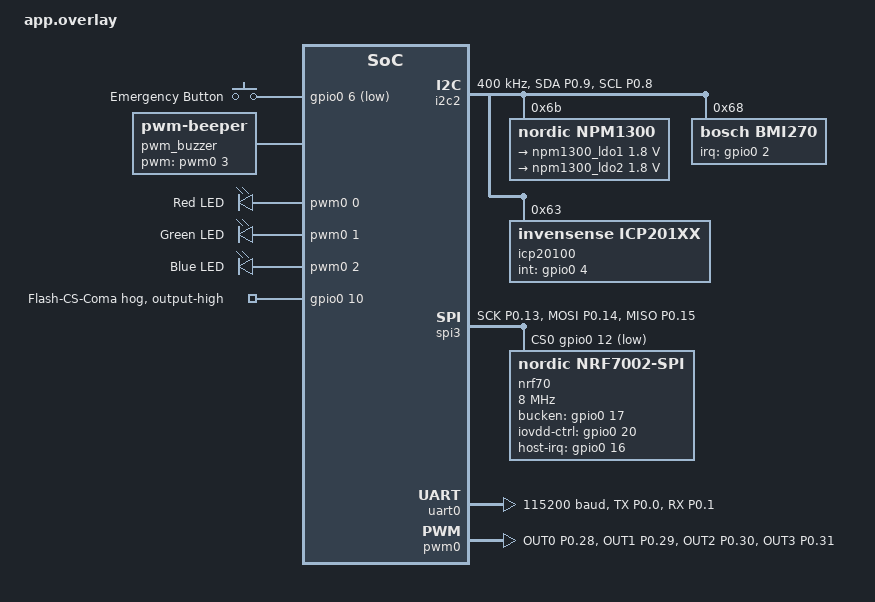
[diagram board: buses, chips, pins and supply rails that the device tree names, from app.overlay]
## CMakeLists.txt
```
# =====================================================================
# Bracelet final project -- CMakeLists.txt
# =====================================================================
cmake_minimum_required(VERSION 3.20.0)

find_package(Zephyr REQUIRED HINTS $ENV{ZEPHYR_BASE})
project(final_project)

# --- Edge Impulse SDK (adds DSP, TFLite Micro, Zephyr porting) -------
include(edge_impulse/edge-impulse-sdk/cmake/utils.cmake)
add_subdirectory(edge_impulse/edge-impulse-sdk/cmake/zephyr)

# --- Include paths ----------------------------------------------------
target_include_directories(app PRIVATE
    include
    bmi270_legacy_api
    edge_impulse
    edge_impulse/model-parameters
    edge_impulse/tflite-model
)

# --- Sources ----------------------------------------------------------
# Manually glob the model sources so the Zephyr app target can see them
RECURSIVE_FIND_FILE(MODEL_SOURCES edge_impulse/tflite-model "*.cpp")

FILE(GLOB APP_C_SOURCES src/*.c)
FILE(GLOB BMI_SOURCES bmi270_legacy_api/*.c)

target_sources(app PRIVATE
    ${APP_C_SOURCES}
    src/ml_wrapper.cpp
    ${MODEL_SOURCES}
    ${BMI_SOURCES}
)
```

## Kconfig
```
source "Kconfig.zephyr"

menu "Communication with MQTT broker"

config MQTT_BROKER_HOSTNAME
    string "MQTT broker Azure Server"
    default "20.251.201.46"
    help
      WARNING: Avoid static IPs for production. Use a domain name.

config MQTT_BOOTSTRAP_SECURITY_CODE
    string "Bootstrap security code"
    default "987654"
    help
      The security code sent in the first MQTT message after boot.
      The server uses this to register the bracelet in its database.
      The mobile app user must enter this exact code when pairing.

endmenu
```

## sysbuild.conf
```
# Enable the nRF7002 Wi-Fi companion chip in the multi-image build
SB_CONFIG_WIFI_NRF70=y
SB_CONFIG_WIFI_NRF70_SCAN_ONLY=y
```

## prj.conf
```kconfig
# ==========================================================
# SYSTEM, KERNEL & MEMORY
# ==========================================================
CONFIG_EVENTS=y
CONFIG_ZBUS=y
CONFIG_SMF=y
CONFIG_ZBUS_MSG_SUBSCRIBER=y

# --- ADJUSTED MEMORY LIMITS TO FIT IN RAM ---
CONFIG_MAIN_STACK_SIZE=4096
CONFIG_SYSTEM_WORKQUEUE_STACK_SIZE=4096
CONFIG_HEAP_MEM_POOL_SIZE=16000

# --- CATCH CRASHES IN HUMAN TEXT ---
CONFIG_HW_STACK_PROTECTION=y
CONFIG_INIT_STACKS=y
CONFIG_THREAD_STACK_INFO=y

# ==========================================================
# C++ & EDGE IMPULSE SDK (Replaces Picolibc)
# ==========================================================
CONFIG_CPP=y
CONFIG_STD_CPP17=y
CONFIG_REQUIRES_FULL_LIBCPP=y
CONFIG_NEWLIB_LIBC=y
CONFIG_NEWLIB_LIBC_FLOAT_PRINTF=y
CONFIG_CBPRINTF_FP_SUPPORT=y
CONFIG_FPU=y

# ==========================================================
# CONSOLE & LOGGING
# ==========================================================
CONFIG_SERIAL=y
CONFIG_CONSOLE=y
CONFIG_UART_CONSOLE=y
CONFIG_STDOUT_CONSOLE=y
CONFIG_PRINTK=y
CONFIG_LOG=y
CONFIG_STACK_SENTINEL=y             

# ==========================================================
# SENSORS: I2C (BMI270/ICP20100 now driven by raw I2C)
# ==========================================================
CONFIG_I2C=y

CONFIG_ASSERT=y
CONFIG_THREAD_NAME=y
CONFIG_RESET_ON_FATAL_ERROR=n

# ==========================================================
# UI: OLED + PWM LEDs + BUZZER
# ==========================================================
CONFIG_DISPLAY=n
#CONFIG_SSD1306=y
#CONFIG_CHARACTER_FRAMEBUFFER=y
CONFIG_PWM=y
CONFIG_LED=y
CONFIG_LED_PWM=y

# ==========================================================
# PMIC: nPM1300
# ==========================================================
CONFIG_SENSOR=y
CONFIG_MFD_NPM13XX=y
CONFIG_REGULATOR=y
CONFIG_REGULATOR_NPM13XX=y
CONFIG_CHARGER=y
CONFIG_NPM13XX_CHARGER=y

# ==========================================================
# WI-FI (SCAN ONLY)
# ==========================================================
CONFIG_SPI=y
CONFIG_WIFI=y
CONFIG_WIFI_NRF70=y
CONFIG_NETWORKING=y
CONFIG_NET_MGMT=y
CONFIG_NET_MGMT_EVENT=y
CONFIG_NET_MGMT_EVENT_INFO=y
CONFIG_NET_MGMT_EVENT_QUEUE_SIZE=16
CONFIG_NET_L2_WIFI_MGMT=y
CONFIG_NRF_WIFI_IF_AUTO_START=n

CONFIG_NET_L2_ETHERNET=y
CONFIG_NET_IPV4=y

CONFIG_NRF_WIFI_CTRL_HEAP_SIZE=10000
CONFIG_NRF_WIFI_DATA_HEAP_SIZE=12000


# Enable a random MAC address
CONFIG_WIFI_RANDOM_MAC_ADDRESS=y

# Enable a hardware entropy generator 
CONFIG_ENTROPY_GENERATOR=y

CONFIG_WIFI_LOG_LEVEL_INF=y
CONFIG_WIFI_NRF70_LOG_LEVEL_INF=y
CONFIG_NET_LOG=y

CONFIG_NRF70_RX_NUM_BUFS=4
CONFIG_NET_BUF_RX_COUNT=6
CONFIG_NET_BUF_TX_COUNT=6
CONFIG_NET_PKT_RX_COUNT=4
CONFIG_NET_PKT_TX_COUNT=4

CONFIG_NET_TX_STACK_SIZE=1024
CONFIG_NET_RX_STACK_SIZE=1024


# ==========================================================
# LTE MODEM (nRF9151 — socket offload for MQTT)
# ==========================================================
CONFIG_NRF_MODEM_LIB=y
CONFIG_LTE_LINK_CONTROL=y
CONFIG_LTE_NETWORK_MODE_LTE_M_GPS=y
CONFIG_MODEM_INFO=y
CONFIG_MODEM_INFO_ADD_NETWORK=y
CONFIG_NET_SOCKETS=y
CONFIG_NET_SOCKETS_OFFLOAD=y
CONFIG_POSIX_API=y
# RC oscillator — no external 32 kHz crystal on custom PCB
CONFIG_CLOCK_CONTROL_NRF_K32SRC_XTAL=n
CONFIG_CLOCK_CONTROL_NRF_K32SRC_RC=y
CONFIG_CLOCK_CONTROL_NRF_K32SRC_500PPM=y

CONFIG_NET_IPV6=n

# NRF CLOUD + AGNSS
CONFIG_NRF_CLOUD=y
CONFIG_NRF_CLOUD_AGNSS=y
CONFIG_NRF_CLOUD_MQTT=n

# ==========================================================
# MQTT
# ==========================================================
CONFIG_MQTT_HELPER=y
CONFIG_MQTT_HELPER_RX_TX_BUFFER_SIZE=2048
CONFIG_MQTT_HELPER_PAYLOAD_BUFFER_LEN=4096
CONFIG_MQTT_CLEAN_SESSION=y
CONFIG_MQTT_KEEPALIVE=1200

CONFIG_MQTT_BOOTSTRAP_SECURITY_CODE="987654"

CONFIG_MFD_NPM13XX_INIT_PRIORITY=74
CONFIG_REGULATOR_NPM13XX_COMMON_INIT_PRIORITY=75
CONFIG_REGULATOR_NPM13XX_INIT_PRIORITY=76
CONFIG_SENSOR_INIT_PRIORITY=80
CONFIG_WIFI_INIT_PRIORITY=85

CONFIG_BMI270=n
CONFIG_ICP201XX=n

# --- FIX NETWORK INTERFACE ALLOCATION CRASH ---
CONFIG_NET_IF_MAX_IPV4_COUNT=2
CONFIG_NET_IF_UNICAST_IPV4_ADDR_COUNT=2
CONFIG_NET_MAX_CONTEXTS=4

CONFIG_NET_TCP=n
CONFIG_NET_UDP=y
```

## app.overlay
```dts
#include <zephyr/dt-bindings/regulator/npm13xx.h>
#include <zephyr/dt-bindings/i2c/i2c.h>

&pinctrl {
    /* --- UART0 --- */
    uart0_default: uart0_default {
        group1 {
            psels = <NRF_PSEL(UART_TX, 0, 0)>,
                    <NRF_PSEL(UART_RX, 0, 1)>;
        };
    };
    uart0_sleep: uart0_sleep {
        group1 {
            psels = <NRF_PSEL(UART_TX, 0, 0)>,
                    <NRF_PSEL(UART_RX, 0, 1)>;
            low-power-enable;
        };
    };

    i2c2_default: i2c2_default {
        group1 {
            psels = <NRF_PSEL(TWIM_SDA, 0, 9)>,
                    <NRF_PSEL(TWIM_SCL, 0, 8)>;
        };
    };
    i2c2_sleep: i2c2_sleep {
        group1 {
            psels = <NRF_PSEL(TWIM_SDA, 0, 9)>,
                    <NRF_PSEL(TWIM_SCL, 0, 8)>;
            low-power-enable;
        };
    };

    /* --- SPI3 --- */
    spi3_default: spi3_default {
        group1 {
            psels = <NRF_PSEL(SPIM_SCK,  0, 13)>,
                    <NRF_PSEL(SPIM_MOSI, 0, 14)>,
                    <NRF_PSEL(SPIM_MISO, 0, 15)>;
            /* ADD THESE TWO LINES: */
            nordic,drive-mode = <NRF_DRIVE_H0H1>;
            bias-pull-up;
        };
    };
    spi3_sleep: spi3_sleep {
        group1 {
            psels = <NRF_PSEL(SPIM_SCK, 0, 13)>,
                    <NRF_PSEL(SPIM_MOSI, 0, 14)>,
                    <NRF_PSEL(SPIM_MISO, 0, 15)>;
            low-power-enable;
        };
    };

    /* --- PWM0 --- */
    pwm0_default: pwm0_default {
        group1 {
            /* RED=P0.28, GREEN=P0.29, BLUE=P0.30, BUZZER=P0.31 */
            psels = <NRF_PSEL(PWM_OUT0, 0, 28)>,
                    <NRF_PSEL(PWM_OUT1, 0, 29)>,
                    <NRF_PSEL(PWM_OUT2, 0, 30)>,
                    <NRF_PSEL(PWM_OUT3, 0, 31)>;
        };
    };
    pwm0_sleep: pwm0_sleep {
        group1 {
            psels = <NRF_PSEL(PWM_OUT0, 0, 28)>,
                    <NRF_PSEL(PWM_OUT1, 0, 29)>,
                    <NRF_PSEL(PWM_OUT2, 0, 30)>,
                    <NRF_PSEL(PWM_OUT3, 0, 31)>;
            low-power-enable;
        };
    };
};

/* Lock Flash CS high so it never contends on the SPI bus */
&gpio0 {
    flash_coma {
        gpio-hog;
        gpios = <10 GPIO_ACTIVE_HIGH>;
        output-high;
        line-name = "Flash-CS-Coma";
    };
};

&i2c2 {
    status = "okay";
    pinctrl-0 = <&i2c2_default>;
    pinctrl-1 = <&i2c2_sleep>;
    pinctrl-names = "default", "sleep";
    clock-frequency = <I2C_BITRATE_FAST>;

    /* Allocate RAM buffer for the BMI270 8KB config bursts */
    zephyr,concat-buf-size = <2048>;
    zephyr,flash-buf-max-size = <2048>;

    npm1300: pmic@6b {
        compatible = "nordic,npm1300";
        reg = <0x6b>;
        status = "okay"; /* Enable the PMIC parent */

        npm1300_regulators: regulators {
            compatible = "nordic,npm1300-regulator";
            status = "okay"; /* Enable the regulator subsystem */
        };

        npm1300_charger: charger {
            compatible = "nordic,npm1300-charger";
            status = "okay";
            /* Increase USB input current limit to 500mA to prevent boot brownouts */
            vbus-limit-microamp = <1000000>;
            term-microvolt = <4200000>;
            current-microamp = <150000>;
            dischg-limit-microamp = <1000000>;
            thermistor-ohms = <10000>;
            thermistor-beta = <3435>;

            charging-enable;
        };

    };


    /* Bosch BMI270 IMU */
    bmi270: bmi270@68 {
        compatible = "bosch,bmi270";
        reg = <0x68>;
        irq-gpios = <&gpio0 2 (GPIO_ACTIVE_HIGH | GPIO_PULL_DOWN)>;
    };

    /* TDK Barometer */
    icp20100: icp20100@63 {
        compatible = "invensense,icp201xx";
        reg = <0x63>;
        int-gpios = <&gpio0 4 GPIO_ACTIVE_HIGH>;
    };

};

&npm1300_regulators {
    npm1300_ldo1: LDO1 {
        status = "okay";
        /* Fixed: Lowered to 1.8V to match nRF9151 GPIO logic levels */
        regulator-min-microvolt = <1800000>;
        regulator-max-microvolt = <1800000>;
        regulator-initial-mode = <NPM13XX_LDSW_MODE_LDSW>;
        active-discharge;
        //regulator-boot-on;
        //regulator-always-on;
    };

        npm1300_ldo2: LDO2 {
        /* Set the voltage to 1.8V */
        regulator-min-microvolt = <1800000>;
        regulator-max-microvolt = <1800000>;
        regulator-initial-mode = <NPM13XX_LDSW_MODE_LDSW>;
        active-discharge;
        regulator-boot-on;
        //regulator-always-on;
    };
};


&spi3 {
    status = "okay";
    pinctrl-0 = <&spi3_default>;
    pinctrl-1 = <&spi3_sleep>;
    pinctrl-names = "default", "sleep";

    cs-gpios = <&gpio0 12 GPIO_ACTIVE_LOW>;

	nrf70: nrf7002@0 {
        compatible = "nordic,nrf7002-spi";
        status = "okay";
        reg = <0>;
        spi-max-frequency = <DT_FREQ_M(8)>;
        iovdd-power-up-delay-ms = <100>;

        bucken-gpios    = <&gpio0 17 GPIO_ACTIVE_HIGH>;
        iovdd-ctrl-gpios = <&gpio0 20 GPIO_ACTIVE_HIGH>;
        // iovdd-regulator = <&npm1300_ldo1>;
        host-irq-gpios  = <&gpio0 16 GPIO_ACTIVE_HIGH>;

        nordic_wlan0: wlan0 {
            compatible = "nordic,wlan";
            local-mac-address = [F6 CE 36 00 00 01];
        };

        /* TX power properties - REDUCED FOR BATTERY */
        wifi-max-tx-pwr-2g-dsss = <10>;         // Was 21 → Now 10 dBm
        wifi-max-tx-pwr-2g-mcs0 = <8>;          // Was 16 → Now 8 dBm
        wifi-max-tx-pwr-2g-mcs7 = <8>;          // Was 16 → Now 8 dBm
        wifi-max-tx-pwr-5g-low-mcs0 = <6>;      // Was 9 → Now 6 dBm
        wifi-max-tx-pwr-5g-low-mcs7 = <6>;      // Was 9 → Now 6 dBm
        wifi-max-tx-pwr-5g-mid-mcs0 = <8>;      // Was 11 → Now 8 dBm
        wifi-max-tx-pwr-5g-mid-mcs7 = <8>;      // Was 11 → Now 8 dBm
        wifi-max-tx-pwr-5g-high-mcs0 = <10>;    // Was 13 → Now 10 dBm
        wifi-max-tx-pwr-5g-high-mcs7 = <10>;    // Was 13 → Now 10 dBm
    };
};

/ {
    aliases {
        sw0 = &button_em;
        buzzer = &pwm_buzzer;
        led0 = &led_red;
        led1 = &led_green;
        led2 = &led_blue;
    };

    buttons {
        compatible = "gpio-keys";
        button_em: button_0 {
            gpios = <&gpio0 6 (GPIO_PULL_UP | GPIO_ACTIVE_LOW)>;
            label = "Emergency Button";
        };
    };

    /* Buzzer PWM routing */
    pwm_buzzer: pwm_buzzer {
        compatible = "pwm-beeper";
        pwms = <&pwm0 3 PWM_HZ(4000) PWM_POLARITY_NORMAL>;
    };

    pwmleds {
        compatible = "pwm-leds";
        led_red: led_pwm_0 {
            pwms = <&pwm0 0 PWM_MSEC(20) PWM_POLARITY_NORMAL>;
            label = "Red LED";
        };
        led_green: led_pwm_1 {
            pwms = <&pwm0 1 PWM_MSEC(20) PWM_POLARITY_NORMAL>;
            label = "Green LED";
        };
        led_blue: led_pwm_2 {
            pwms = <&pwm0 2 PWM_MSEC(20) PWM_POLARITY_NORMAL>;
            label = "Blue LED";
        };
    };

	chosen {
		zephyr,wifi = &nordic_wlan0;
        ncs,location-wifi = &nordic_wlan0;
	};
};

/* Enable UART0 */
&uart0 {
    status = "okay";
    pinctrl-0 = <&uart0_default>;
    pinctrl-1 = <&uart0_sleep>;
    pinctrl-names = "default", "sleep";
    current-speed = <115200>;
};

/* Enable PWM0 */
&pwm0 {
    status = "okay";
    pinctrl-0 = <&pwm0_default>;
    pinctrl-1 = <&pwm0_sleep>;
    pinctrl-names = "default", "sleep";
};
```

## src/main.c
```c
/*
 
* PART OF MASTER'S THESIS: Design of an End-to-End IoT System for Monitoring Vulnerable Users 
 
 * main.c -- Application entry point. Initializes sensors and comms
 * subsystems, then starts the FSM thread that drives the rest of the
 * bracelet's runtime behavior. 
 * 
 * */
#include <zephyr/kernel.h>
#include <stdio.h>
#include <zephyr/init.h>

/* Include our module APIs */
#include "sensors.h"
#include "comms.h"

extern const k_tid_t fsm_tid;

/* ======================================================================
 * MAIN ENTRY POINT
 * ====================================================================== */
int main(void)
{

    printf("========================================\n");
    printf("      BRACELET TRACKER BOOTING...       \n");
    printf("========================================\n");

    sensors_startup_blink_start();

    /* 1. Initialize Hardware Sensors & Interrupts */
    if (sensors_init() != 0) {
        printf("[FATAL] Sensor initialization failed! Check PMIC/I2C.\n");
        return -1;
    }
    printf("MAIN: sensors_init OK\n");

    /* 2. Initialize Modem, LTE, and MQTT */
    if (comms_init() != 0) {
        printf("[FATAL] Communications initialization failed! Check SIM/Antenna.\n");
        return -1;
    }
    printf("MAIN: comms_init OK\n");
    
    printf("========================================\n");
    printf("        SYSTEM BOOT COMPLETE            \n");
    printf("   FSM is now listening for events.     \n");
    printf("========================================\n");

    /* Start the FSM */
    k_thread_start(fsm_tid);

    sensors_startup_blink_stop();

    /* Main thread goes to sleep to save power */
    k_sleep(K_FOREVER);
    
    return 0;
}
```

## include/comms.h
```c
#ifndef COMMS_H
#define COMMS_H

#include <stdint.h>
#include <stddef.h> 
#include <zephyr/sys/util.h>

#define WIFI_EVT_SUCCESS BIT(0)
#define WIFI_EVT_FAIL    BIT(1)
#define LOC_EVT_HOME     BIT(3)
#define LOC_EVT_AWAY     BIT(4)
#define LOC_EVT_VERDICT  (LOC_EVT_HOME | LOC_EVT_AWAY)

extern struct k_event app_events;

/* Trigger reasons mapped to your Python backend statuses */
enum alert_reason {
    REASON_BUTTON_PRESSED, /* Maps to "panic" */
    REASON_FALL_DETECTED   /* Maps to "fall" */
};

struct nrf_modem_gnss_pvt_data_frame;

// WIFI APS
struct ap_data_t { 
    char mac[18]; 
    int8_t rssi; 
};

/* Wi-Fi Subsystem Prototypes */
void comms_wifi_init(void);
int do_wifi_scan(void);
const struct ap_data_t* comms_wifi_get_aps(void); 

/* GNSS Subsystem Prototypes */
int comms_gnss_init(void);
int do_gnss_fix(void);
int do_gnss_fix_timeout(int timeout_s);
const struct nrf_modem_gnss_pvt_data_frame* comms_gnss_get_pvt(void);

/* A-GNSS*/
typedef void (*comms_raw_cb_t)(const uint8_t *data, size_t len);
void comms_set_raw_response_cb(comms_raw_cb_t cb);
int  comms_agnss_refresh_if_needed(void);
void comms_agnss_invalidate(void);


/* Network (LTE & MQTT) */
int comms_network_init(void);
int comms_mqtt_ensure_connected(void);
int comms_mqtt_publish(const char *payload);
void comms_mqtt_disconnect(void);


/* LTE Controls for Core */
void comms_lte_wake(void);
void comms_lte_sleep(void);
void comms_lte_gnss_mode(void);
void comms_lte_normal_mode(void);
void comms_safe_disconnect(void);

/* Core APIs (Used by fsm.c) */
int comms_init(void);
void comms_send_alert_status(enum alert_reason reason);
int comms_update_localization(void);
void comms_clear_alert(void);


#endif /* COMMS_H */
```

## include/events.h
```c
#ifndef EVENTS_H
#define EVENTS_H

#include <zephyr/zbus/zbus.h>

/* These are all the physical and network triggers defined in FSM scheme */
enum bracelet_event_type {
    EVENT_IMU_LIGHT_MOTION,         /* Like walking*/
    EVENT_IMU_HARSH_IMPACT,         /* A fall */
    EVENT_BUTTON_PRESSED,           // Emergency button pressed normally
    EVENT_BUTTON_LONG_PRESS,        // Emergency button pressed long (1.5s)
    EVENT_SERVER_REPLY_HOME,        /* INSIDE GEOFENCE */
    EVENT_SERVER_REPLY_AWAY,        /* OUTSIDE GEOFENCE */
    EVENT_SERVER_ACK_ALERT,         /* The server acknowledges the alert */
    EVENT_ML_FALL_DETECTED,         /* TinyML output */
    EVENT_ML_NO_FALL,               /* TinyML output */
    EVENT_TIMER_1MIN_EXPIRED,       // Active tracking idle timer
    EVENT_TIMER_10MIN_EXPIRED,      // Deep Sleep idle timer
    EVENT_STATE_TIMEOUT,            /* Per-state watchdog (LOCATION_PING / ALERT) */
    EVENT_LOC_SUCCESS,              
    EVENT_LOC_FAILURE,
    EVENT_ALERT_CANCEL_WINDOW_TIMEOUT,
};

/* The ZBUS message payload */
struct bracelet_event {
    enum bracelet_event_type type;
};

/* Declare the ZBUS channel so all files can see it */
ZBUS_CHAN_DECLARE(fsm_events_chan);

#endif /* EVENTS_H */
```

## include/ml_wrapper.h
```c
/* ml_wrapper.h -- C interface to the C++ Edge Impulse classifier. */
#ifndef ML_WRAPPER_H
#define ML_WRAPPER_H

#include <stddef.h>

#ifdef __cplusplus
extern "C" {
#endif

/* Total floats the deployed model expects (should be 1125). Use to
 * sanity-check buffers at boot. */
size_t ml_wrapper_input_size(void);

/* Run inference on an interleaved feature window:
 *   [x0,y0,z0,dp0,press_step0 x1,y1,z1,dp1,press_step1 ...]
 * Returns:
 *    1  -> classified as fall
 *    0  -> classified as anything else
 *   <0  -> error (wrong feature count / EI runtime error)
 * Per-class probabilities are printed to the console. */
int run_fall_inference(const float *features, size_t count);

#ifdef __cplusplus
}
#endif

#endif /* ML_WRAPPER_H */
```

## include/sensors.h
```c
/* sensors.h -- sensor subsystem public API.
 *
 * The BMI270 is now driven through the Bosch
 * legacy API (raw I2C), NOT the Zephyr sensor driver. This is required
 * because the model needs the low-g feature (harsh-impact trigger) and
 * the hardware FIFO (the 1.5 s of PRE-impact data the model was
 * trained on) -- neither exists in the Zephyr bosch,bmi270 driver.
 * sensors_collect_ml_window() is replaced by
 * sensors_capture_fall_window(), which reproduces the training-data
 * pipeline exactly.
 */

#ifndef SENSORS_H
#define SENSORS_H

#include <stdint.h>
#include <stddef.h>

/* LED color bitmasks (PWM-driven) */
#define LED_RED   BIT(0)
#define LED_GREEN BIT(1)
#define LED_BLUE  BIT(2)

#define LED_YELLOW (LED_RED | LED_GREEN)
#define LED_CYAN   (LED_GREEN | LED_BLUE)

int  sensors_init(void);

/* Light-motion (any-motion) trigger control -- used by the FSM wake 
 * up during DEEP_SLEEP. The low-g harsh-impact trigger is
 * NOT affected by these: fall detection stays armed at all times. */
void sensors_enable_motion_trigger(void);
void sensors_disable_motion_trigger(void);

/* Capture one 4.5-second fall window (1.5 s pre-impact from the FIFO +
 * 3 s post-impact) and write it as interleaved model features:
 *   [x0,y0,z0,dp0,press_step0 x1,y1,z1,dp1,press_step1 ...]
 * accel in g, dp = pressure delta in hPa from the first sample.
 * press_step is the median of pressure
 * 'count' must be 1125 (225 frames x 5 axes).
 * Returns 0 on success, negative on short capture.
 * Rearms the low-g trigger before returning. */
int  sensors_capture_fall_window(float *features, size_t count);

/* LED & buzzer */
/* Turns on one or more LED colors (LED_RED/GREEN/BLUE). */
void sensors_led_on(uint8_t color);

/* Turns off one or more LED colors. */
void sensors_led_off(uint8_t color);

/* Turns the buzzer PWM output off or on at fixed duty cycle. */
void sensors_buzzer_on(void);
void sensors_buzzer_off(void);

/* Clears the capture-pending flag, re-enabling harsh-impact interrupt
 * handling. Must be called after a fall-window capture + ML inference
 * cycle completes, regardless of outcome. */
void sensors_evaluation_done(void);

/* Reads battery voltage from the nPM1300 charger/gauge and converts it
 * to an approximate percentage by preset values in a voltage lookup table. */
int get_battery_level(void);

/* Startup indicator: blinks BLUE/RED alternately until setup completes.
 * Call sensors_startup_blink_start() before init work begins, and
 * sensors_startup_blink_stop() once sensors_init()/comms_init() finish. */
void sensors_startup_blink_start(void);
void sensors_startup_blink_stop(void);

/* Loclaization indicator: blinks yellow for localization in progress.
 * Call sensors_localization_blink_start() when a localization attempt
 * begins, and sensors_localization_blink_stop() when it ends
 * (success, failure, or timeout). */
void sensors_localization_blink_start(void);
void sensors_localization_blink_stop(void);

/* One-shot notification blinks. Both block briefly (~600ms) and should
 * only be called from contexts where that's acceptable (state entry
 * functions, not ISRs). */
void sensors_notify_deep_sleep(void);      /* 2x green blinks */
void sensors_notify_active_tracking(void); /* 2x cyan blinks  */

#endif /* SENSORS_H */
```

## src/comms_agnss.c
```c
#include <zephyr/kernel.h>
#include <zephyr/logging/log.h>
#include <modem/modem_info.h>
#include <net/nrf_cloud_agnss.h>
#include <nrf_modem_gnss.h>
#include <stdlib.h>
#include <string.h>

#include "comms.h"

LOG_MODULE_REGISTER(comms_agnss, LOG_LEVEL_INF);

#define AGNSS_BUF_SIZE      8192
#define AGNSS_RESP_TIMEOUT  K_SECONDS(30)

/* Ephemerides are good for ~2-4 h. Refresh after 2 h to stay safe. */
#define AGNSS_VALID_MS      (2 * 60 * 60 * 1000LL)

static uint8_t agnss_buf[AGNSS_BUF_SIZE];
static size_t  agnss_len;
static K_SEM_DEFINE(agnss_sem, 0, 1);

static int64_t agnss_last_ok_ms;


static void agnss_cb(const uint8_t *data, size_t len)
{
    
    if (len == 0 || len > sizeof(agnss_buf)) {
        LOG_ERR("A-GNSS payload bad size: %zu B (buffer is %zu B)",
                len, sizeof(agnss_buf));
        return;   
    }

    memcpy(agnss_buf, data, len);
    agnss_len = len;
    k_sem_give(&agnss_sem);
}

/* ------------------------------------------------------------------
 * Build and publish the request, wait for the blob, inject it.
 * ------------------------------------------------------------------ */
static int fetch_and_inject_agnss(void)
{
    char plmn[16] = {0}, cell[16] = {0}, area[16] = {0}, req[160];
    int err;

    if (modem_info_string_get(MODEM_INFO_OPERATOR, plmn, sizeof(plmn)) <= 0) {
        LOG_ERR("No serving-cell PLMN -- cannot request A-GNSS");
        return -ENODATA;
    }
    modem_info_string_get(MODEM_INFO_CELLID,    cell, sizeof(cell));
    modem_info_string_get(MODEM_INFO_AREA_CODE, area, sizeof(area));

    int mnc = atoi(&plmn[3]);
    plmn[3] = '\0';
    int mcc = atoi(plmn);

    snprintk(req, sizeof(req),
             "{\"agnss_request\":1,\"mcc\":%d,\"mnc\":%d,\"tac\":%lu,\"eci\":%lu}",
             mcc, mnc, strtoul(area, NULL, 16), strtoul(cell, NULL, 16));

    k_sem_reset(&agnss_sem);
    agnss_len = 0;

    comms_set_raw_response_cb(agnss_cb);

    err = comms_mqtt_publish(req);
    if (err) {
        comms_set_raw_response_cb(NULL);
        LOG_ERR("A-GNSS request publish failed: %d", err);
        return err;
    }

    err = k_sem_take(&agnss_sem, AGNSS_RESP_TIMEOUT);
    comms_set_raw_response_cb(NULL);

    if (err) {
        LOG_ERR("No A-GNSS response within timeout");
        return -ETIMEDOUT;
    }

    err = nrf_cloud_agnss_process((const char *)agnss_buf, agnss_len);
    if (err) {
        LOG_ERR("nrf_cloud_agnss_process failed: %d", err);
        return err;
    }

    agnss_last_ok_ms = k_uptime_get();
    LOG_INF("A-GNSS injected OK.");
    return 0;
}

/* ------------------------------------------------------------------
 * Returns 0 if the modem now holds usable assistance (either freshly
 * injected or still valid from a previous fetch), negative otherwise.
 * ------------------------------------------------------------------ */
int comms_agnss_refresh_if_needed(void)
{
    int64_t now = k_uptime_get();

    if (agnss_last_ok_ms != 0 && (now - agnss_last_ok_ms) < AGNSS_VALID_MS) {
        return 0;
    }

    return fetch_and_inject_agnss();
}

/* Force a refetch on the next call */
void comms_agnss_invalidate(void)
{
    agnss_last_ok_ms = 0;
}
```

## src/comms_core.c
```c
/*
* PART OF MASTER'S THESIS: Design of an End-to-End IoT System for Monitoring Vulnerable Users 
 
 
 * comms_core.c -- Localization orchestration and alert/status reporting.
 * Runs the Wi-Fi -> GNSS -> LTE-cell fallback waterfall on its own thread,
 * builds and publishes MQTT JSON payloads, and reports LOC_SUCCESS/
 * LOC_FAILURE back to the FSM. Also owns comms_init() top-level bring-up. 
 */

#include <zephyr/kernel.h>
#include <zephyr/logging/log.h>
#include <zephyr/net/net_if.h>
#include <zephyr/zbus/zbus.h>
#include <modem/modem_info.h>
#include <nrf_modem_gnss.h>
#include <zephyr/drivers/regulator.h>
#include <stdio.h>
#include <stdlib.h>
#include <string.h>

#include "events.h"
#include "comms.h"
#include "sensors.h"

LOG_MODULE_REGISTER(comms_core, LOG_LEVEL_INF);

K_EVENT_DEFINE(app_events);

K_SEM_DEFINE(loc_start_sem, 0, 1);
static atomic_t loc_busy = ATOMIC_INIT(0);

static const char *current_status = "ok";

static const struct device *ldo1_dev = DEVICE_DT_GET(DT_NODELABEL(npm1300_ldo1));

/* ------------------------------------------------------------------
 * JSON PAYLOAD HELPERS
 * ------------------------------------------------------------------ */
static void send_status_payload(int batt) 
{
    char payload[128];
    snprintf(payload, sizeof(payload), "{\"status\":\"%s\", \"battery\":%d}", current_status, batt);
    LOG_INF("Publishing Status: %s", payload);
    comms_mqtt_publish(payload);
}

static void send_wifi_payload(int batt, int aps, const struct ap_data_t *best_aps)
{
    char payload[2048]; 
    int offset = 0;
    int remaining = sizeof(payload);
    
    offset += snprintf(payload + offset, remaining,
        "{\"status\":\"%s\", \"battery\":%d, \"wifi\":{\"accessPoints\":[", current_status, batt);
    remaining -= offset;

    for (int i = 0; i < aps; i++) {
        if (remaining < 64) {
            LOG_WRN("Payload buffer full! Truncating Wi-Fi list.");
            break; 
        }
        int written = snprintf(payload + offset, remaining,
            "{\"macAddress\":\"%s\",\"signalStrength\":%d}%s",
            best_aps[i].mac, best_aps[i].rssi, (i < aps - 1) ? "," : "");
        offset += written;
        remaining -= written;
    }

    snprintf(payload + offset, remaining, "]}}");
    LOG_INF("Publishing Wi-Fi Payload (%d bytes)", offset);
    comms_mqtt_publish(payload);
}

static void send_gnss_payload(int batt, const struct nrf_modem_gnss_pvt_data_frame *pvt)
{
    char payload[256];
    snprintf(payload, sizeof(payload),
        "{\"status\":\"%s\", \"battery\":%d, \"gnss\":{\"lat\":%.6f, \"lon\":%.6f, \"accuracy\":%.1f}}",
        current_status, batt, pvt->latitude, pvt->longitude, (double)pvt->accuracy);
    LOG_INF("Publishing GNSS Payload: %s", payload);
    comms_mqtt_publish(payload);
}

static void send_lte_payload(int batt)
{
    if (comms_mqtt_ensure_connected() != 0) {
        LOG_ERR("Attempted to connect to LTE failed");
        return;
    }
    char payload[256];
    struct modem_param_info modem_param = {0};
    modem_info_params_init(&modem_param);
    modem_info_params_get(&modem_param);

    char *cellid_str = modem_param.network.cellid_hex.value_string;
    uint32_t eci = (cellid_str && strlen(cellid_str) > 0) ? strtol(cellid_str, NULL, 16) : 0;
    uint16_t mcc = modem_param.network.mcc.value;
    uint16_t mnc = modem_param.network.mnc.value;
    uint32_t tac = modem_param.network.area_code.value;

    snprintf(payload, sizeof(payload),
        "{\"status\":\"%s\", \"battery\":%d, \"lte\":{\"mcc\":%d, \"mnc\":%d, \"tac\":%d, \"eci\":%u}}",
        current_status, batt, mcc, mnc, tac, eci);
    
    LOG_INF("Publishing LTE Payload: %s", payload);
    comms_mqtt_publish(payload);
}

/* 
    Function that starts a whole localization pipeline.
    Attempts wi-fi scanning first and GNSS and LTE as fallbacks

    Handles required modem activation and deactivation.

    Returns true or false based on localization result.

    USED as the core part of localization_thread_fn
*/
static bool perform_localization_work(void)
{
    int batt = get_battery_level();
    uint32_t events;

    /* Clear ALL stale flags from any previous run, up front */
    k_event_clear(&app_events, WIFI_EVT_SUCCESS | WIFI_EVT_FAIL | LOC_EVT_VERDICT);

    /* STEP 1: WI-FI */

    // Only needed if using LTE antena booster and not external one
    //LOG_INF("Taking MQTT/LTE offline for Wi-Fi Scan.");
    //comms_mqtt_disconnect();
    //comms_lte_sleep();
    //k_sleep(K_MSEC(1000));

    // Wi-Fi and LTE can function at the same time because we use an external antenna 
    LOG_INF("Starting Wi-Fi Scan (with LTE still connected)");

    /* Enable LDO1 before bringing up Wi-Fi */
    if (device_is_ready(ldo1_dev)) {
        regulator_enable(ldo1_dev);
    }

    struct net_if *iface = net_if_get_wifi_sta();
    if (iface) net_if_up(iface);

    int aps = do_wifi_scan();
    const struct ap_data_t *best_aps = comms_wifi_get_aps();

    if (iface) net_if_down(iface);
    k_sleep(K_MSEC(500));

    /* Disable LDO1 after bringing down Wi-Fi */
    if (device_is_ready(ldo1_dev)) {
        regulator_disable(ldo1_dev);
    }

    // Only needed if using LTE antenna booster, current hardware uses an external antena
    //comms_lte_wake();     

    if (aps > 0) {
        k_event_clear(&app_events, WIFI_EVT_SUCCESS | WIFI_EVT_FAIL | LOC_EVT_VERDICT);

        send_wifi_payload(batt, aps, best_aps);

        events = k_event_wait(&app_events, WIFI_EVT_SUCCESS | WIFI_EVT_FAIL, false, K_SECONDS(10));

        if (events & WIFI_EVT_SUCCESS) {
            LOG_INF("Server confirmed Wi-Fi. Waiting for Home/Away verdict...");

            events = k_event_wait(&app_events, LOC_EVT_VERDICT, false, K_SECONDS(10));

            if (events & LOC_EVT_HOME) {
                LOG_INF("Server verdict (Wi-Fi): HOME -- inside geofence.");
                return true;
            } else if (events & LOC_EVT_AWAY) {
                LOG_INF("Server verdict (Wi-Fi): AWAY -- outside geofence.");
                return true;
            } else {
                LOG_WRN("Server verdict timeout after Wi-Fi success (10 s).");
                return false;
            }
        } else if (events & WIFI_EVT_FAIL) {
            LOG_INF("Server failed to locate Wi-Fi APs. Moving to GNSS.");
        } else {
            LOG_INF("Server Wi-Fi response timeout. Moving to GNSS.");
        }
    } else {
        LOG_WRN("Wi-Fi scan found no access points. Moving to GNSS.");
    }

    /* STEP 2: GNSS FALLBACK */
    LOG_INF("Attempting GNSS Localization.");
    bool assisted = false;
    if (comms_mqtt_ensure_connected() == 0) {
        assisted = (comms_agnss_refresh_if_needed() == 0);
        LOG_INF("A-GNSS assistance: %s", assisted ? "OK" : "unavailable");
    }
    comms_mqtt_disconnect();
    comms_lte_gnss_mode();
    int gnss_res = do_gnss_fix_timeout(assisted ? 45 : 120);
    if (gnss_res != 0 && assisted) {
        comms_agnss_invalidate();   /* force a refetch next cycle */
    }
    comms_lte_normal_mode();

    k_event_clear(&app_events, LOC_EVT_VERDICT);

    if (gnss_res == 0) {
        LOG_INF("GNSS Fix acquired.");
        send_gnss_payload(batt, comms_gnss_get_pvt());
    } else {
        LOG_INF("GNSS Failed. Falling back to LTE Cell Tower location.");
        send_lte_payload(batt);
    }

    events = k_event_wait(&app_events, LOC_EVT_VERDICT, false, K_SECONDS(10));

    if (events & LOC_EVT_HOME) {
        LOG_INF("Server verdict (%s): HOME -- inside geofence.",
                gnss_res == 0 ? "GNSS" : "LTE cell-ID");
        return true;
    } else if (events & LOC_EVT_AWAY) {
        LOG_INF("Server verdict (%s): AWAY -- outside geofence.",
                gnss_res == 0 ? "GNSS" : "LTE cell-ID");
        return true;
    } else {
        LOG_WRN("No server verdict received within 10s timeout.");
        return false;
    }
}


void comms_send_alert_status(enum alert_reason reason)
{
    current_status = (reason == REASON_FALL_DETECTED) ? "fall" : "panic";
    
    /* Ensure the modem is awake and MQTT is connected to send the alert */
    comms_lte_wake();
    int batt = get_battery_level();
    send_status_payload(batt);
}

/* Routine localization trigger */
int comms_update_localization(void)
{
    if (!atomic_cas(&loc_busy, 0, 1)) {
        LOG_WRN("Localization already in flight -- request rejected");
        return -EBUSY;
    }
    k_sem_give(&loc_start_sem);
    return 0;
}

/* Clear the alert status when exiting the emergency */
void comms_clear_alert(void) {
    current_status = "ok";
}

static void localization_thread_fn(void *arg1, void *arg2, void *arg3)
{
    while (1) {
        k_sem_take(&loc_start_sem, K_FOREVER);
        
        sensors_localization_blink_start(); // Turns on LED yellow blink

        bool success = perform_localization_work();
        
        sensors_localization_blink_stop(); // Turns off LED yellow blink

        atomic_set(&loc_busy, 0);

        /* Broadcast the exact outcome to the FSM */
        struct bracelet_event ev;
        ev.type = success ? EVENT_LOC_SUCCESS : EVENT_LOC_FAILURE;
        zbus_chan_pub(&fsm_events_chan, &ev, K_NO_WAIT);
    }
}

K_THREAD_DEFINE(loc_thread, 4096, localization_thread_fn, NULL, NULL, NULL, K_PRIO_PREEMPT(7), 0, 0);

/* Initialization function, called in main.c */
int comms_init(void)
{
    comms_wifi_init();
    comms_gnss_init();
    
    if (comms_network_init() != 0) {
        return -1;
    }
    
    LOG_INF("Comms initialization finished.");
    return 0;
}
```

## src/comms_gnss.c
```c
#include <zephyr/kernel.h>
#include <zephyr/logging/log.h>
#include <stdio.h>

#include <nrf_modem_gnss.h>
#include <modem/modem_info.h>
#include <modem/nrf_modem_lib.h>
#include <nrf_modem_at.h>

#include "comms.h"

LOG_MODULE_REGISTER(comms_gnss, LOG_LEVEL_INF);

static struct nrf_modem_gnss_pvt_data_frame last_pvt;
static bool gnss_has_fix = false;

static K_SEM_DEFINE(gnss_fix_sem, 0, 1);

static void gnss_event_handler(int event)
{
    if (event == NRF_MODEM_GNSS_EVT_PVT) {
        if (nrf_modem_gnss_read(&last_pvt, sizeof(last_pvt), NRF_MODEM_GNSS_DATA_PVT) == 0) {

            int tracked = 0;
            int used = 0;
            for (int i = 0; i < NRF_MODEM_GNSS_MAX_SATELLITES; i++) {
                if (last_pvt.sv[i].sv == 0) continue; 
                
                tracked++;
                bool in_fix = last_pvt.sv[i].flags & NRF_MODEM_GNSS_SV_FLAG_USED_IN_FIX;
                if (in_fix) used++;
                
                printk("  SV %3u  C/N0 %2u.%u dB-Hz  elev %2d  %s\n",
                       last_pvt.sv[i].sv,
                       last_pvt.sv[i].cn0 / 10, last_pvt.sv[i].cn0 % 10,
                       last_pvt.sv[i].elevation,
                       in_fix ? "[in fix]" : "");
            }
            printk("GNSS: tracking %d satellites (%d used in fix)\n", tracked, used);

            if (last_pvt.flags & NRF_MODEM_GNSS_PVT_FLAG_FIX_VALID) {
                LOG_INF("GNSS FIX ACQUIRED! Lat: %.6f, Lon: %.6f", last_pvt.latitude, last_pvt.longitude);
                gnss_has_fix = true;
                k_sem_give(&gnss_fix_sem);
            }
        }
    }
}


int do_gnss_fix_timeout(int timeout_s)
{
    gnss_has_fix = false;
    k_sem_reset(&gnss_fix_sem);

    nrf_modem_gnss_fix_interval_set(0);
    nrf_modem_gnss_fix_retry_set(timeout_s);
    nrf_modem_gnss_start();

    int res = k_sem_take(&gnss_fix_sem, K_SECONDS(timeout_s + 5));
    nrf_modem_gnss_stop();
    return (res == 0 && gnss_has_fix) ? 0 : -ETIMEDOUT;
}

int do_gnss_fix(void) { return do_gnss_fix_timeout(60); }


const struct nrf_modem_gnss_pvt_data_frame* comms_gnss_get_pvt(void)
{
    return &last_pvt;
}


int comms_gnss_init(void)
{
    int err;

    LOG_INF("Initializing modem library...");
    err = nrf_modem_lib_init();
    if (err) {
        LOG_ERR("Modem init failed, err %d", err);
        return -1;
    }

    err = nrf_modem_gnss_event_handler_set(gnss_event_handler);
    if (err) {
        LOG_ERR("Failed to set GNSS event handler: %d", err);
        return -1;
    }

    err = nrf_modem_at_printf("AT%%XCOEX0=1,1,1565,1586");
    if (err) {
        LOG_ERR("Failed to configure COEX0 for LNA: %d", err);
    } else {
        LOG_INF("COEX0 configured: External LNA enabled for GNSS");
    }

    return 0;
}
```

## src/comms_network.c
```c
/*
* PART OF MASTER'S THESIS: Design of an End-to-End IoT System for Monitoring Vulnerable Users 
 
 * comms_network.c -- LTE modem connection management and MQTT client
 * (connect/publish/subscribe/disconnect), including registration-denied
 * backoff handling and translation of incoming MQTT messages into FSM
 * ZBUS events (Wi-Fi verdicts, home/away, alert ACK). 
 
 */

#include <zephyr/kernel.h>
#include <zephyr/logging/log.h>
#include <zephyr/sys/util.h>
#include <zephyr/zbus/zbus.h>

#include <modem/modem_info.h>
#include <modem/lte_lc.h>
#include <modem/nrf_modem_lib.h>
#include <net/mqtt_helper.h>
#include <nrf_modem_at.h>
#include <modem/modem_info.h>
#include <stdio.h>
#include <string.h>
#include <stdlib.h>

#include "comms.h"
#include "events.h"

LOG_MODULE_REGISTER(comms_network, LOG_LEVEL_INF);

/* ------------------------------------------------------------------
 * CONSTANTS & CONFIG
 * ------------------------------------------------------------------ */
#define MQTT_TOPIC "bracelet/prototype_pcb/data"
#define CLIENT_ID "prototype_pcb"
#define MQTT_SUB_TOPIC "bracelet/prototype_pcb/response"
#define MQTT_AGNSS_TOPIC "bracelet/prototype_pcb/agnss"

#ifndef CONFIG_MQTT_BROKER_HOSTNAME
#define CONFIG_MQTT_BROKER_HOSTNAME "20.251.201.46"
#endif

#ifndef CONFIG_MQTT_BOOTSTRAP_SECURITY_CODE
#define CONFIG_MQTT_BOOTSTRAP_SECURITY_CODE "987654"
#endif

/* ------------------------------------------------------------------
 * STATE & STRUCTS
 * ------------------------------------------------------------------ */
// static bool bootstrap_sent = false;
static bool mqtt_is_connected = false;
static bool in_backoff;
static void lte_backoff_fn(struct k_work *work);
static K_WORK_DELAYABLE_DEFINE(lte_backoff_work, lte_backoff_fn);
static volatile comms_raw_cb_t raw_cb;  


static struct mqtt_topic sub_topics[] = {
    { .topic = { .utf8 = (uint8_t *)MQTT_SUB_TOPIC,
                 .size = sizeof(MQTT_SUB_TOPIC) - 1 },
      .qos = MQTT_QOS_1_AT_LEAST_ONCE },
    { .topic = { .utf8 = (uint8_t *)MQTT_AGNSS_TOPIC,
                 .size = sizeof(MQTT_AGNSS_TOPIC) - 1 },
      .qos = MQTT_QOS_1_AT_LEAST_ONCE },
};

static struct mqtt_subscription_list sub_list = {
    .list = sub_topics,
    .list_count = ARRAY_SIZE(sub_topics),
    .message_id = 1234,
};

static K_SEM_DEFINE(lte_connected, 0, 1);
static K_SEM_DEFINE(mqtt_connected_sem, 0, 1);

/* ------------------------------------------------------------------
 * LTE LOGIC
 * ------------------------------------------------------------------ */
static void lte_backoff_fn(struct k_work *work)
{
    if (!in_backoff) {
        LOG_WRN("Registration denied: modem offline, 2 min backoff.");
        lte_lc_offline();
        in_backoff = true;
        k_work_schedule(&lte_backoff_work, K_MINUTES(2));
    } else {
        LOG_INF("Backoff over: modem back to normal mode.");
        lte_lc_normal();
        in_backoff = false;
    }
}

static void lte_handler(const struct lte_lc_evt *const evt)
{
    if (evt->type == LTE_LC_EVT_NW_REG_STATUS) {
        if ((evt->nw_reg_status == LTE_LC_NW_REG_REGISTERED_HOME) ||
            (evt->nw_reg_status == LTE_LC_NW_REG_REGISTERED_ROAMING)) {
            in_backoff = false;
            k_work_cancel_delayable(&lte_backoff_work);
            LOG_INF("LTE Network registered");
            k_sem_give(&lte_connected);
        } else if (evt->nw_reg_status == LTE_LC_NW_REG_REGISTRATION_DENIED) {
            LOG_ERR("Cell tower rejected connection! Scheduling backoff.");
            k_work_schedule(&lte_backoff_work, K_NO_WAIT);
        }
    }
}

/* ------------------------------------------------------------------
 * MQTT CALLBACKS
 * ------------------------------------------------------------------ */
void comms_set_raw_response_cb(comms_raw_cb_t cb) { raw_cb = cb; }

static void on_mqtt_connack(enum mqtt_conn_return_code return_code, bool session_present)
{
    if (return_code == MQTT_CONNECTION_ACCEPTED) {
        LOG_INF("Connected to MQTT broker");
        mqtt_is_connected = true;
        k_sem_give(&mqtt_connected_sem);
    } else {
        LOG_WRN("MQTT connection failed, code: %d", return_code);
    }
}

static void on_mqtt_disconnect(int result)
{
    LOG_INF("MQTT client disconnected: %d", result);
    mqtt_is_connected = false;
}

static void on_mqtt_publish(struct mqtt_helper_buf topic, struct mqtt_helper_buf payload)
{
    
    if (topic.size == sizeof(MQTT_AGNSS_TOPIC) - 1 &&
        memcmp(topic.ptr, MQTT_AGNSS_TOPIC, topic.size) == 0) {
        if (raw_cb) {
            raw_cb(payload.ptr, payload.size);
        }
        return;
    }
    
    char buf[64] = {0};
    size_t len = MIN((size_t)payload.size, sizeof(buf) - 1);

    memcpy(buf, payload.ptr, len);

    if (strcmp(buf, "wifi_successful") == 0) {
        k_event_post(&app_events, WIFI_EVT_SUCCESS);
        return;
    }
    else if (strcmp(buf, "wifi_failed") == 0) {
        k_event_post(&app_events, WIFI_EVT_FAIL);
        return;
    }

    struct bracelet_event event;
    if (strstr(buf, "located_home")) {
        event.type = EVENT_SERVER_REPLY_HOME;
        zbus_chan_pub(&fsm_events_chan, &event, K_NO_WAIT);
        k_event_post(&app_events, LOC_EVT_HOME);
    } 
    else if (strstr(buf, "located_away")) {
        event.type = EVENT_SERVER_REPLY_AWAY;
        zbus_chan_pub(&fsm_events_chan, &event, K_NO_WAIT);
        k_event_post(&app_events, LOC_EVT_AWAY);
    }
    
    else if (strstr(buf, "\"ack\": true")) {
        event.type = EVENT_SERVER_ACK_ALERT;
        zbus_chan_pub(&fsm_events_chan, &event, K_NO_WAIT);
    }
}

static int mqtt_connect_and_subscribe(k_timeout_t connack_timeout)
{
    struct mqtt_helper_conn_params conn_params = {
        .hostname.ptr = CONFIG_MQTT_BROKER_HOSTNAME,
        .hostname.size = strlen(CONFIG_MQTT_BROKER_HOSTNAME),
        .device_id.ptr = CLIENT_ID,
        .device_id.size = strlen(CLIENT_ID),
    };

    int err = mqtt_helper_connect(&conn_params);
    if (err) {
        LOG_ERR("MQTT connect failed: %d", err);
        return -EIO;
    }

    k_sem_reset(&mqtt_connected_sem);   /* drop any stale token */
    if (k_sem_take(&mqtt_connected_sem, connack_timeout) != 0) {
        LOG_ERR("MQTT CONNACK timeout");
        return -ETIMEDOUT;
    }

    err = mqtt_helper_subscribe(&sub_list);
    if (err) {
        LOG_ERR("MQTT subscribe failed: %d", err);
        return err;
    }
    return 0;
}

/* ------------------------------------------------------------------
 * PUBLIC NETWORK APIS
 * ------------------------------------------------------------------ */
int comms_mqtt_ensure_connected(void)
{
    if (mqtt_is_connected) return 0;

    LOG_INF("MQTT is disconnected. Reconnecting...");

    lte_lc_normal();

    enum lte_lc_nw_reg_status reg_status;
    lte_lc_nw_reg_status_get(&reg_status);

    if (reg_status != LTE_LC_NW_REG_REGISTERED_HOME &&
        reg_status != LTE_LC_NW_REG_REGISTERED_ROAMING) {
        LOG_INF("Waiting for LTE...");
        k_sem_reset(&lte_connected);
        if (k_sem_take(&lte_connected, K_SECONDS(120)) != 0) {
            LOG_ERR("LTE Reconnect failed!");
            return -ENETUNREACH;
        }
    }

    return mqtt_connect_and_subscribe(K_SECONDS(15));
}

int comms_mqtt_publish(const char *payload)
{
    if (comms_mqtt_ensure_connected() != 0) return -ENOTCONN;

    struct mqtt_publish_param param = { 0 };
    param.message.payload.data = (uint8_t *)payload;
    param.message.payload.len = strlen(payload);
    param.message.topic.qos = MQTT_QOS_1_AT_LEAST_ONCE;
    param.message_id = mqtt_helper_msg_id_get();
    param.message.topic.topic.utf8 = (uint8_t *)MQTT_TOPIC;
    param.message.topic.topic.size = strlen(MQTT_TOPIC);

    return mqtt_helper_publish(&param);
}

void comms_mqtt_disconnect(void)
{
    if (mqtt_is_connected) {
        mqtt_helper_disconnect();
        k_msleep(300);
        mqtt_is_connected = false;
    }
}


/* =========================================
 * LTE Wrappers for comms_core.c
 * ========================================= */
void comms_lte_wake(void) { lte_lc_normal(); }
void comms_lte_sleep(void) { lte_lc_offline(); }

void comms_lte_gnss_mode(void)
{
    lte_lc_func_mode_set(LTE_LC_FUNC_MODE_DEACTIVATE_LTE);
    lte_lc_func_mode_set(LTE_LC_FUNC_MODE_ACTIVATE_GNSS);
}

void comms_lte_normal_mode(void)
{
    lte_lc_func_mode_set(LTE_LC_FUNC_MODE_DEACTIVATE_GNSS);
    lte_lc_func_mode_set(LTE_LC_FUNC_MODE_ACTIVATE_LTE);
}


void comms_safe_disconnect(void)
{    
    if (mqtt_is_connected) {
        LOG_INF("Disconnecting MQTT...");
        mqtt_helper_disconnect();
        k_msleep(1000); 
        mqtt_is_connected = false;
    }

    LOG_INF("Detaching from LTE network...");
    lte_lc_power_off(); 
    k_sem_reset(&lte_connected); 
}

/* ------------------------------------------------------------------
 * INITIALIZATION
 * ------------------------------------------------------------------ */
int comms_network_init(void)
{
    int err;

    err = modem_info_init();
    if (err) {
        LOG_ERR("Modem info init failed: %d", err);
        return err;
    }

    LOG_INF("Connecting to LTE network");
    err = lte_lc_connect_async(lte_handler);
    if (err) {
        LOG_ERR("LTE connect async failed, err %d", err);
        return -1;
    }

    if (k_sem_take(&lte_connected, K_MINUTES(5)) != 0) {
        LOG_ERR("LTE connection timed out. Is the SIM card valid?");
        return -ETIMEDOUT;
    } else {
        LOG_INF("LTE Connected successfully.");
    } 

    struct mqtt_helper_cfg config = {
        .cb = {
            .on_connack = on_mqtt_connack,
            .on_disconnect = on_mqtt_disconnect,
            .on_publish = on_mqtt_publish,
        },
    };
    
    err = mqtt_helper_init(&config);
    if (err) return err;

    LOG_INF("Connecting to MQTT Broker...");
    return mqtt_connect_and_subscribe(K_SECONDS(20));
}
```
